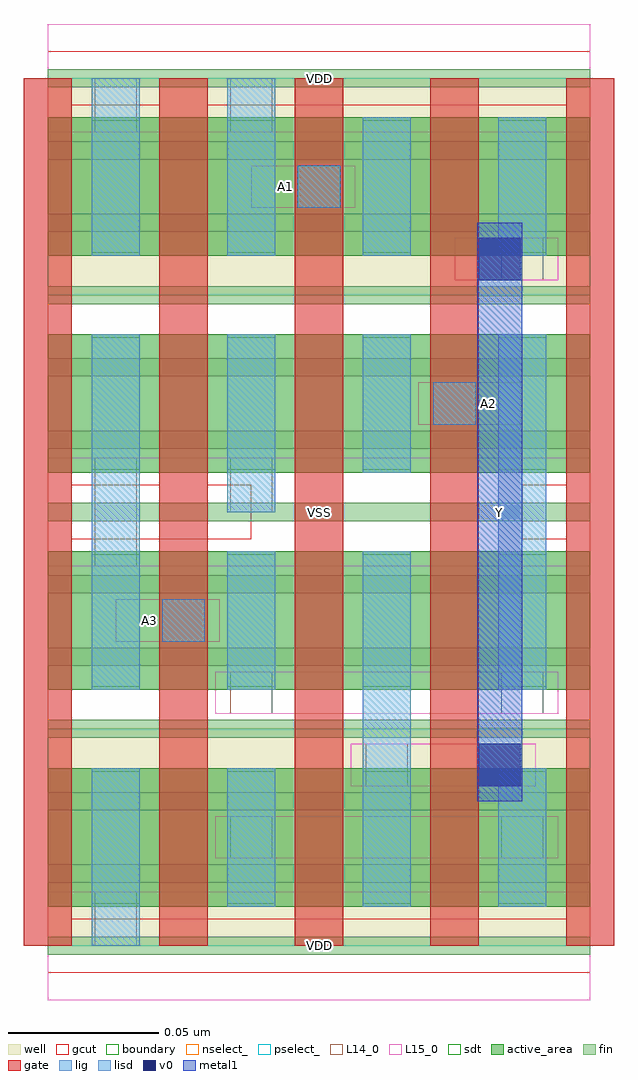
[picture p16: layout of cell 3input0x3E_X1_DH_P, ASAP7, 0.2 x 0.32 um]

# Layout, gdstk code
import gdstk
lib = gdstk.Library(unit=1e-6, precision=2.5e-10)
def R(c, l, rs):  # rectangles x0, y0, x1, y1
    for r in rs: c.add(gdstk.rectangle(r[:2], r[2:], *l))
def A(c, l, x, y, w, h, nx, ny, dx, dy):  # array of equal rectangles
    R(c, l, [(x+i*dx, y+j*dy, x+i*dx+w, y+j*dy+h) for i in range(nx) for j in range(ny)])
def P(c, l, *ps):  # polygons
    for p in ps: c.add(gdstk.Polygon(p, *l))
well = (1, 0)
fin = (2, 0)
gate = (7, 0)
gcut = (10, 0)
active_area = (11, 0)
nselect_ = (12, 0)
pselect_ = (13, 0)
L14_0 = (14, 0)
L15_0 = (15, 0)
lig = (16, 0)
lisd = (17, 0)
v0 = (18, 0)
metal1 = (19, 0)
sdt = (88, 0)
boundary = (100, 0)

c_3input0x3e_x1_dh_p = lib.new_cell('3input0x3E_X1_DH_P')
R(c_3input0x3e_x1_dh_p, well, [(0,0,0.18,0.072), (0,0.216,0.18,0.288)])
A(c_3input0x3e_x1_dh_p, fin, 0, -0.003, 0.18, 0.006, 1, 13, 0, 0.024)
A(c_3input0x3e_x1_dh_p, gate, -0.008, 0, 0.016, 0.288, 5, 1, 0.045, 0)
P(c_3input0x3e_x1_dh_p, gcut, [(0,-0.009),(0,0),(-0.008,0),(-0.008,0.279),(0.008,0.279),(0.008,0.153),(0.037,0.153),(0.037,0.279),(0.053,0.279),(0.053,0.153),(0.0675,0.153),(0.0675,0.135),(0.008,0.135),(0.008,0.009),(0.172,0.009),(0.172,0.135),(0.1575,0.135),(0.1575,0.153),(0.172,0.153),(0.172,0.279),(-0.008,0.279),(-0.008,0.288),(0,0.288),(0,0.297),(0.18,0.297),(0.18,0.288),(0.188,0.288),(0.188,0),(0.18,0),(0.18,-0.009)])
A(c_3input0x3e_x1_dh_p, active_area, 0, 0.013, 0.18, 0.046, 1, 4, 0, 0.072)
R(c_3input0x3e_x1_dh_p, nselect_, [(0,0.072,0.18,0.144), (0,0.144,0.18,0.216)])
R(c_3input0x3e_x1_dh_p, pselect_, [(0,0,0.18,0.072), (0,0.216,0.18,0.288)])
R(c_3input0x3e_x1_dh_p, L14_0, [(0.0155,0,0.0295,0.018), (0.0605,0.029,0.0745,0.043), (0.1505,0.029,0.1645,0.043), (0.1055,0.053,0.1195,0.067), (0.0605,0.077,0.0745,0.091), (0.1505,0.077,0.1645,0.091), (0.038,0.101,0.052,0.115), (0.0155,0.126,0.0295,0.144), (0.0155,0.144,0.0295,0.162), (0.0605,0.144,0.0745,0.162), (0.128,0.173,0.142,0.187), (0.1505,0.221,0.1645,0.235), (0.083,0.245,0.097,0.259), (0.0155,0.27,0.0295,0.288), (0.0605,0.27,0.0745,0.288)])
A(c_3input0x3e_x1_dh_p, L15_0, 0, -0.018, 0.18, 0.036, 1, 3, 0, 0.144)
R(c_3input0x3e_x1_dh_p, L15_0, [(0.0555,0.029,0.1695,0.043), (0.1005,0.053,0.162,0.067), (0.0555,0.077,0.1695,0.091), (0.0225,0.101,0.057,0.115), (0.123,0.173,0.1575,0.187), (0.135,0.221,0.1695,0.235), (0.0675,0.245,0.102,0.259)])
R(c_3input0x3e_x1_dh_p, lig, [(0.038,0.101,0.052,0.115), (0.128,0.173,0.142,0.187), (0.083,0.245,0.097,0.259)])
R(c_3input0x3e_x1_dh_p, lisd, [(0.0145,0,0.0305,0.059), (0.0595,0.013,0.0755,0.059), (0.1045,0.013,0.1205,0.131), (0.1495,0.013,0.1655,0.059), (0.0145,0.085,0.0305,0.203), (0.0595,0.085,0.0755,0.131), (0.1495,0.085,0.1655,0.203), (0.0595,0.144,0.0755,0.203), (0.1045,0.157,0.1205,0.203), (0.0145,0.229,0.0305,0.288), (0.0595,0.229,0.0755,0.288), (0.1045,0.229,0.1205,0.275), (0.1495,0.229,0.1655,0.275)])
R(c_3input0x3e_x1_dh_p, v0, [(0.143,0.053,0.157,0.067), (0.143,0.221,0.157,0.235)])
R(c_3input0x3e_x1_dh_p, metal1, [(0.1425,0.048,0.1575,0.24)])
A(c_3input0x3e_x1_dh_p, sdt, 0.0145, 0.014, 0.016, 0.044, 4, 4, 0.045, 0.072)
R(c_3input0x3e_x1_dh_p, boundary, [(0,0,0.18,0.288)])
c_3input0x3e_x1_dh_p.add(gdstk.Label('A3', (0.0338,0.108), layer=15, texttype=251))
c_3input0x3e_x1_dh_p.add(gdstk.Label('VDD', (0.09,0), layer=15, texttype=251))
c_3input0x3e_x1_dh_p.add(gdstk.Label('VSS', (0.09,0.144), layer=15, texttype=251))
c_3input0x3e_x1_dh_p.add(gdstk.Label('VSS', (0.09,0.144), layer=15, texttype=251))
c_3input0x3e_x1_dh_p.add(gdstk.Label('VDD', (0.09,0.288), layer=15, texttype=251))
c_3input0x3e_x1_dh_p.add(gdstk.Label('A2', (0.1463,0.18), layer=15, texttype=251))
c_3input0x3e_x1_dh_p.add(gdstk.Label('VDD', (0.09,0), layer=15, texttype=251))
c_3input0x3e_x1_dh_p.add(gdstk.Label('VSS', (0.09,0.144), layer=15, texttype=251))
c_3input0x3e_x1_dh_p.add(gdstk.Label('VSS', (0.09,0.144), layer=15, texttype=251))
c_3input0x3e_x1_dh_p.add(gdstk.Label('VDD', (0.09,0.288), layer=15, texttype=251))
c_3input0x3e_x1_dh_p.add(gdstk.Label('VDD', (0.09,0), layer=15, texttype=251))
c_3input0x3e_x1_dh_p.add(gdstk.Label('VSS', (0.09,0.144), layer=15, texttype=251))
c_3input0x3e_x1_dh_p.add(gdstk.Label('VSS', (0.09,0.144), layer=15, texttype=251))
c_3input0x3e_x1_dh_p.add(gdstk.Label('VDD', (0.09,0.288), layer=15, texttype=251))
c_3input0x3e_x1_dh_p.add(gdstk.Label('A1', (0.0788,0.252), layer=15, texttype=251))
c_3input0x3e_x1_dh_p.add(gdstk.Label('VDD', (0.09,0), layer=15, texttype=251))
c_3input0x3e_x1_dh_p.add(gdstk.Label('VSS', (0.09,0.144), layer=15, texttype=251))
c_3input0x3e_x1_dh_p.add(gdstk.Label('VSS', (0.09,0.144), layer=15, texttype=251))
c_3input0x3e_x1_dh_p.add(gdstk.Label('VDD', (0.09,0.288), layer=15, texttype=251))
c_3input0x3e_x1_dh_p.add(gdstk.Label('VSS', (0.09,0.144), layer=3, texttype=251))
c_3input0x3e_x1_dh_p.add(gdstk.Label('VSS', (0.09,0.144), layer=3, texttype=251))
c_3input0x3e_x1_dh_p.add(gdstk.Label('VSS', (0.09,0.144), layer=3, texttype=251))
c_3input0x3e_x1_dh_p.add(gdstk.Label('VSS', (0.09,0.144), layer=3, texttype=251))
c_3input0x3e_x1_dh_p.add(gdstk.Label('VSS', (0.09,0.144), layer=3, texttype=251))
c_3input0x3e_x1_dh_p.add(gdstk.Label('VSS', (0.09,0.144), layer=3, texttype=251))
c_3input0x3e_x1_dh_p.add(gdstk.Label('VSS', (0.09,0.144), layer=3, texttype=251))
c_3input0x3e_x1_dh_p.add(gdstk.Label('VSS', (0.09,0.144), layer=3, texttype=251))
c_3input0x3e_x1_dh_p.add(gdstk.Label('VDD', (0.09,0), layer=1, texttype=251))
c_3input0x3e_x1_dh_p.add(gdstk.Label('VDD', (0.09,0.288), layer=1, texttype=251))
c_3input0x3e_x1_dh_p.add(gdstk.Label('VDD', (0.09,0), layer=1, texttype=251))
c_3input0x3e_x1_dh_p.add(gdstk.Label('VDD', (0.09,0.288), layer=1, texttype=251))
c_3input0x3e_x1_dh_p.add(gdstk.Label('VDD', (0.09,0), layer=1, texttype=251))
c_3input0x3e_x1_dh_p.add(gdstk.Label('VDD', (0.09,0.288), layer=1, texttype=251))
c_3input0x3e_x1_dh_p.add(gdstk.Label('VDD', (0.09,0), layer=1, texttype=251))
c_3input0x3e_x1_dh_p.add(gdstk.Label('VDD', (0.09,0.288), layer=1, texttype=251))
c_3input0x3e_x1_dh_p.add(gdstk.Label('Y', (0.15,0.144), layer=19, texttype=251))

lib.write_gds('3input0x3E_X1_DH_P.gds')
